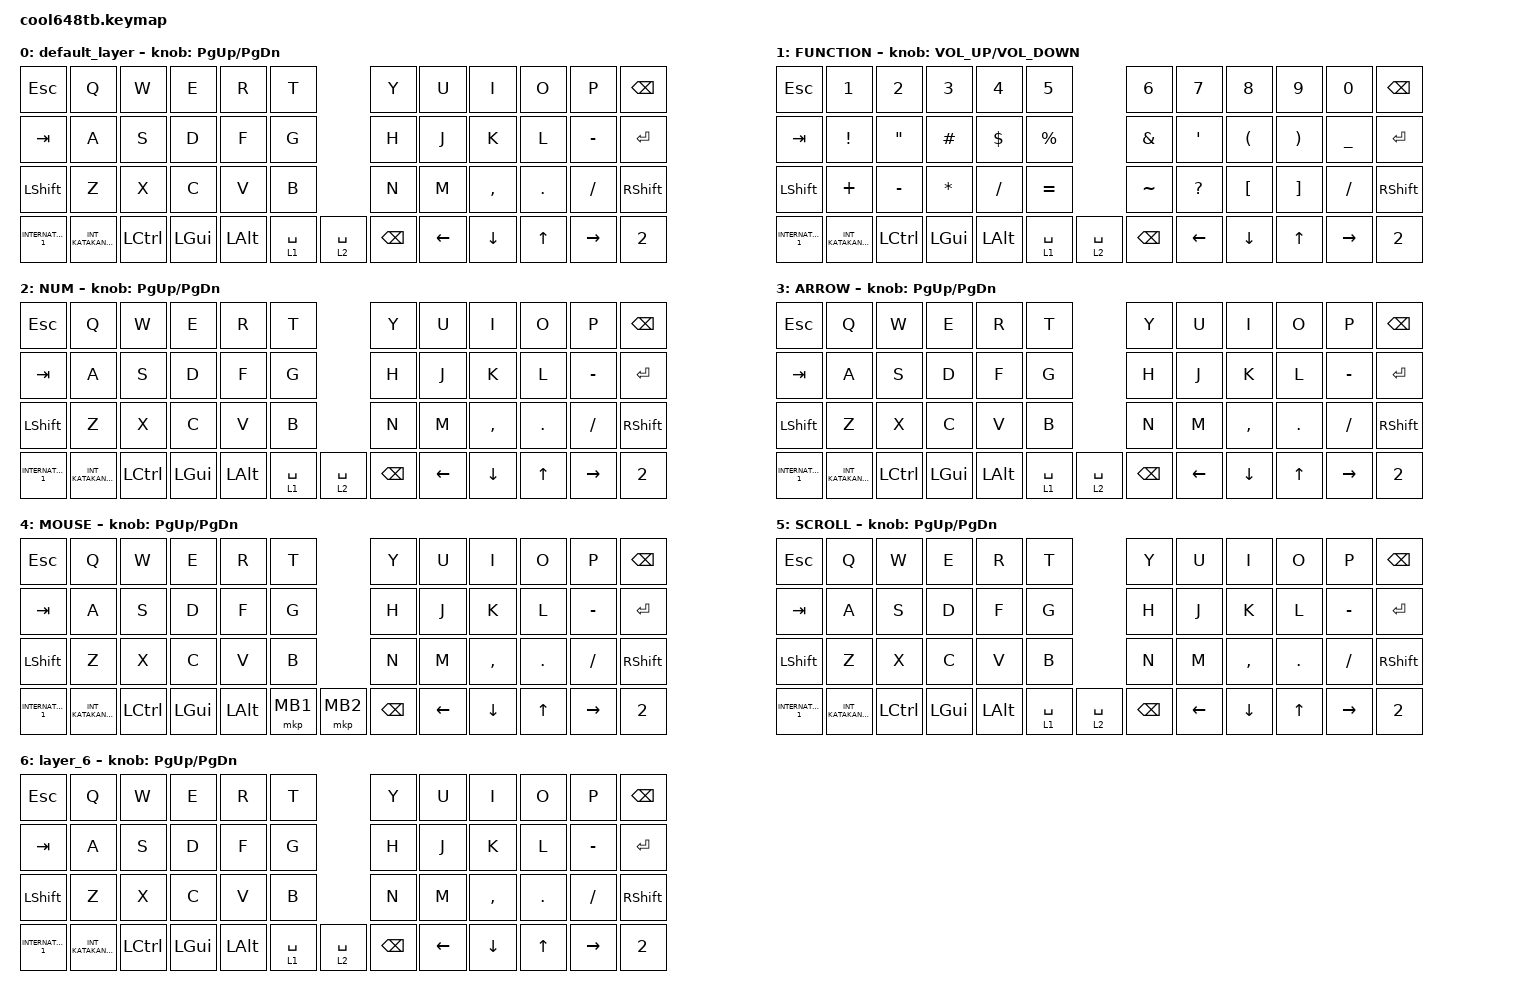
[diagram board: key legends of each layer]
#include <behaviors.dtsi>
#include <dt-bindings/zmk/keys.h>
#include <dt-bindings/zmk/pointing.h>

#define MOUSE 4
#define SCROLL 5
#define NUM 6

&mt {
    flavor = "balanced";
    quick-tap-ms = <0>;
};

/ {
    combos {
        compatible = "zmk,combos";

        comb1 {
            bindings = <&kp TAB>;
            key-positions = <11 12>;
        };

        comb2 {
            bindings = <&kp LS(TAB)>;
            key-positions = <12 13>;
        };

        comb3 {
            bindings = <&to_layer_0 INT_MUHENKAN>;
            key-positions = <11 10>;
        };

        comb4 {
            bindings = <&kp DOUBLE_QUOTES>;
            key-positions = <20 21>;
        };

        comb5 {
            bindings = <&kp EQUAL>;
            key-positions = <24 25>;
        };
    };

    macros {
        to_layer_0: to_layer_0 {
            compatible = "zmk,behavior-macro-one-param";
            #binding-cells = <1>;
            bindings = <&to 0 &macro_param_1to1 &kp MACRO_PLACEHOLDER>;
            label = "TO_LAYER_0";
        };
    };

    behaviors {
        lt_to_layer_0: lt_to_layer_0 {
            compatible = "zmk,behavior-hold-tap";
            label = "LAYER_TAP_TO_0";
            bindings = <&mo>, <&to_layer_0>;

            #binding-cells = <2>;
            tapping-term-ms = <200>;
        };
    };

    keymap {
        compatible = "zmk,keymap";

        default_layer {
            bindings = <
&kp ESCAPE           &kp Q                     &kp W      &kp E         &kp R         &kp T        &kp Y        &kp U          &kp I           &kp O           &kp P         &kp BACKSPACE
&kp TAB              &kp A                     &kp S      &kp D         &kp F         &kp G        &kp H        &kp J          &kp K           &kp L           &kp MINUS     &kp ENTER
&kp LEFT_SHIFT       &kp Z                     &kp X      &kp C         &kp V         &kp B        &kp N        &kp M          &kp COMMA       &kp PERIOD      &kp SLASH     &kp RIGHT_SHIFT
&kp INTERNATIONAL_1  &kp INT_KATAKANAHIRAGANA  &kp LCTRL  &kp LEFT_GUI  &kp LEFT_ALT  &lt 1 SPACE  &lt 2 SPACE  &kp BACKSPACE  &kp LEFT_ARROW  &kp DOWN_ARROW  &kp UP_ARROW  &kp RIGHT
                                                                                      &kp N2
            >;

            sensor-bindings = <&inc_dec_kp PG_UP PAGE_DOWN>;
        };

        FUNCTION {
            bindings = <
&kp ESCAPE           &kp NUMBER_1              &kp NUMBER_2       &kp NUMBER_3  &kp NUMBER_4  &kp N5       &kp NUMBER_6   &kp N7         &kp N8                &kp N9                 &kp N0          &kp BACKSPACE
&kp TAB              &kp EXCLAMATION           &kp DOUBLE_QUOTES  &kp HASH      &kp DOLLAR    &kp PERCENT  &kp AMPERSAND  &kp SQT        &kp LEFT_PARENTHESIS  &kp RIGHT_PARENTHESIS  &kp UNDERSCORE  &kp ENTER
&kp LEFT_SHIFT       &kp PLUS                  &kp MINUS          &kp ASTERISK  &kp SLASH     &kp EQUAL    &kp TILDE      &kp QUESTION   &kp LEFT_BRACKET      &kp RIGHT_BRACKET      &kp SLASH       &kp RIGHT_SHIFT
&kp INTERNATIONAL_1  &kp INT_KATAKANAHIRAGANA  &kp LCTRL          &kp LEFT_GUI  &kp LEFT_ALT  &lt 1 SPACE  &lt 2 SPACE    &kp BACKSPACE  &kp LEFT_ARROW        &kp DOWN_ARROW         &kp UP_ARROW    &kp RIGHT
                                                                                              &kp N2
            >;

            sensor-bindings = <&inc_dec_kp C_VOLUME_UP C_VOLUME_DOWN>;
        };

        NUM {
            bindings = <
&kp ESCAPE           &kp Q                     &kp W      &kp E         &kp R         &kp T        &kp Y        &kp U          &kp I           &kp O           &kp P         &kp BACKSPACE
&kp TAB              &kp A                     &kp S      &kp D         &kp F         &kp G        &kp H        &kp J          &kp K           &kp L           &kp MINUS     &kp ENTER
&kp LEFT_SHIFT       &kp Z                     &kp X      &kp C         &kp V         &kp B        &kp N        &kp M          &kp COMMA       &kp PERIOD      &kp SLASH     &kp RIGHT_SHIFT
&kp INTERNATIONAL_1  &kp INT_KATAKANAHIRAGANA  &kp LCTRL  &kp LEFT_GUI  &kp LEFT_ALT  &lt 1 SPACE  &lt 2 SPACE  &kp BACKSPACE  &kp LEFT_ARROW  &kp DOWN_ARROW  &kp UP_ARROW  &kp RIGHT
                                                                                      &kp N2
            >;

            sensor-bindings = <&inc_dec_kp PG_UP PAGE_DOWN>;
        };

        ARROW {
            bindings = <
&kp ESCAPE           &kp Q                     &kp W      &kp E         &kp R         &kp T        &kp Y        &kp U          &kp I           &kp O           &kp P         &kp BACKSPACE
&kp TAB              &kp A                     &kp S      &kp D         &kp F         &kp G        &kp H        &kp J          &kp K           &kp L           &kp MINUS     &kp ENTER
&kp LEFT_SHIFT       &kp Z                     &kp X      &kp C         &kp V         &kp B        &kp N        &kp M          &kp COMMA       &kp PERIOD      &kp SLASH     &kp RIGHT_SHIFT
&kp INTERNATIONAL_1  &kp INT_KATAKANAHIRAGANA  &kp LCTRL  &kp LEFT_GUI  &kp LEFT_ALT  &lt 1 SPACE  &lt 2 SPACE  &kp BACKSPACE  &kp LEFT_ARROW  &kp DOWN_ARROW  &kp UP_ARROW  &kp RIGHT
                                                                                      &kp N2
            >;

            sensor-bindings = <&inc_dec_kp PG_UP PAGE_DOWN>;
        };

        MOUSE {
            bindings = <
&kp ESCAPE           &kp Q                     &kp W      &kp E         &kp R         &kp T     &kp Y     &kp U          &kp I           &kp O           &kp P         &kp BACKSPACE
&kp TAB              &kp A                     &kp S      &kp D         &kp F         &kp G     &kp H     &kp J          &kp K           &kp L           &kp MINUS     &kp ENTER
&kp LEFT_SHIFT       &kp Z                     &kp X      &kp C         &kp V         &kp B     &kp N     &kp M          &kp COMMA       &kp PERIOD      &kp SLASH     &kp RIGHT_SHIFT
&kp INTERNATIONAL_1  &kp INT_KATAKANAHIRAGANA  &kp LCTRL  &kp LEFT_GUI  &kp LEFT_ALT  &mkp MB1  &mkp MB2  &kp BACKSPACE  &kp LEFT_ARROW  &kp DOWN_ARROW  &kp UP_ARROW  &kp RIGHT
                                                                                      &kp N2
            >;

            sensor-bindings = <&inc_dec_kp PG_UP PAGE_DOWN>;
        };

        SCROLL {
            bindings = <
&kp ESCAPE           &kp Q                     &kp W      &kp E         &kp R         &kp T        &kp Y        &kp U          &kp I           &kp O           &kp P         &kp BACKSPACE
&kp TAB              &kp A                     &kp S      &kp D         &kp F         &kp G        &kp H        &kp J          &kp K           &kp L           &kp MINUS     &kp ENTER
&kp LEFT_SHIFT       &kp Z                     &kp X      &kp C         &kp V         &kp B        &kp N        &kp M          &kp COMMA       &kp PERIOD      &kp SLASH     &kp RIGHT_SHIFT
&kp INTERNATIONAL_1  &kp INT_KATAKANAHIRAGANA  &kp LCTRL  &kp LEFT_GUI  &kp LEFT_ALT  &lt 1 SPACE  &lt 2 SPACE  &kp BACKSPACE  &kp LEFT_ARROW  &kp DOWN_ARROW  &kp UP_ARROW  &kp RIGHT
                                                                                      &kp N2
            >;

            sensor-bindings = <&inc_dec_kp PG_UP PAGE_DOWN>;
        };

        layer_6 {
            bindings = <
&kp ESCAPE           &kp Q                     &kp W      &kp E         &kp R         &kp T        &kp Y        &kp U          &kp I           &kp O           &kp P         &kp BACKSPACE
&kp TAB              &kp A                     &kp S      &kp D         &kp F         &kp G        &kp H        &kp J          &kp K           &kp L           &kp MINUS     &kp ENTER
&kp LEFT_SHIFT       &kp Z                     &kp X      &kp C         &kp V         &kp B        &kp N        &kp M          &kp COMMA       &kp PERIOD      &kp SLASH     &kp RIGHT_SHIFT
&kp INTERNATIONAL_1  &kp INT_KATAKANAHIRAGANA  &kp LCTRL  &kp LEFT_GUI  &kp LEFT_ALT  &lt 1 SPACE  &lt 2 SPACE  &kp BACKSPACE  &kp LEFT_ARROW  &kp DOWN_ARROW  &kp UP_ARROW  &kp RIGHT
                                                                                      &kp N2
            >;

            sensor-bindings = <&inc_dec_kp PG_UP PAGE_DOWN>;
        };
    };
};
